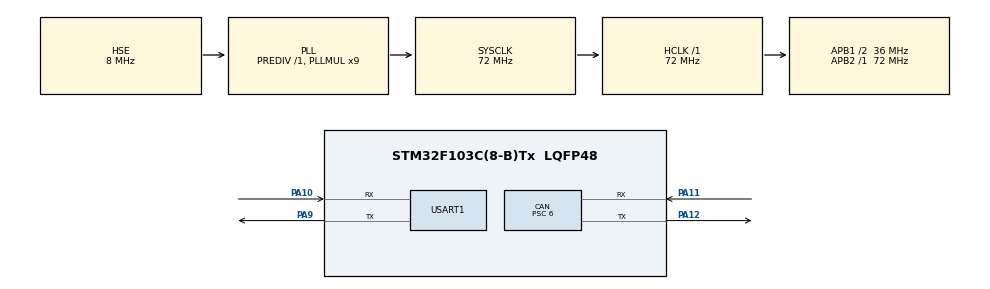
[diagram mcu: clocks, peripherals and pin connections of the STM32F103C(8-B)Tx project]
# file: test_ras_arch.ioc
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CAN.AWUM=DISABLE
CAN.BS1=CAN_BS1_12TQ
CAN.BS2=CAN_BS2_3TQ
CAN.CalculateBaudRate=375000
CAN.CalculateTimeBit=2666.66
CAN.CalculateTimeQuantum=166.66666666666669
CAN.Mode=CAN_MODE_LOOPBACK
CAN.NART=ENABLE
CAN.Prescaler=6
FREERTOS.BinarySemaphores01=uartSemaphore,Static,uartSemaphoreControlBlock;cfgRegSemaphore,Static,cfgRegSemaphoreControlBlock
FREERTOS.Queues01=canEventQueue,10,CAN_Event_t,0,Static,canEventQueueBuffer,canEventQueueControlBlock;grupo1Queue,2,64,1,Static,grupo1QueueBuffer,grupo1QueueControlBlock;grupo2Queue,12,12,1,Static,grupo2QueueBuffer,grupo2QueueControlBlock
FREERTOS.Tasks01=defaultTask,8,128,StartDefaultTask,Default,NULL,Dynamic,NULL,NULL;grupo1Task,24,128,StartGrupo1,Default,NULL,Static,grupo1TaskBuffer,grupo1TaskControlBlock;grupo2Task,24,128,StartGrupo2,Default,NULL,Static,grupo2TaskBuffer,grupo2TaskControlBlock;canGKTask,32,128,StartCanGK,Default,NULL,Static,canGKTaskBuffer,canGKTaskControlBlock;storageTask,24,128,StartStorage,Default,NULL,Static,storageTaskBuffer,storageTaskControlBlock;thermalCtrlTask,8,128,StartThermalCtrl,Default,NULL,Static,thermalCtrlTaskBuffer,thermalCtrlTaskControlBlock;stimulusTask,8,128,StartStimulus,Default,NULL,Static,stimulusTaskBuffer,stimulusTaskControlBlock
FREERTOS.Timers01=grupo1Timer,Grupo1TimerCallback,osTimerPeriodic,Default,NULL,Static,grupo1TimerControlBlock;grupo2Timer,Grupo2TimerCallback,osTimerPeriodic,Default,NULL,Static,grupo2TimerControlBlock
FREERTOS.configCHECK_FOR_STACK_OVERFLOW=2
FREERTOS.configGENERATE_RUN_TIME_STATS=0
FREERTOS.configMINIMAL_STACK_SIZE=128
FREERTOS.configTIMER_QUEUE_LENGTH=4
FREERTOS.configTIMER_TASK_STACK_DEPTH=128
FREERTOS.configTOTAL_HEAP_SIZE=2018
FREERTOS.configUSE_IDLE_HOOK=0
FREERTOS.configUSE_NEWLIB_REENTRANT=1
FREERTOS.configUSE_PREEMPTION=0
FREERTOS.configUSE_STATS_FORMATTING_FUNCTIONS=0
Mcu.Family=STM32F1
Mcu.Name=STM32F103C(8-B)Tx
Mcu.Package=LQFP48
NVIC.PriorityGroup=NVIC_PRIORITYGROUP_4
NVIC.TIM4_IRQn=true\:15\:0\:false\:false\:true\:false\:false\:true
NVIC.TimeBase=TIM4_IRQn
NVIC.TimeBaseIP=TIM4
NVIC.USB_HP_CAN1_TX_IRQn=true\:5\:0\:false\:false\:true\:true\:true\:true
NVIC.USB_LP_CAN1_RX0_IRQn=true\:5\:0\:false\:false\:true\:true\:true\:true
PA10.Mode=Asynchronous
PA10.Signal=USART1_RX
PA11.Mode=CAN_Activate
PA11.Signal=CAN_RX
PA12.Mode=CAN_Activate
PA12.Signal=CAN_TX
PA13.Mode=Serial_Wire
PA13.Signal=SYS_JTMS-SWDIO
PA14.Mode=Serial_Wire
PA14.Signal=SYS_JTCK-SWCLK
PA9.Mode=Asynchronous
PA9.Signal=USART1_TX
PD0-OSC_IN.Mode=HSE-External-Oscillator
PD0-OSC_IN.Signal=RCC_OSC_IN
PD1-OSC_OUT.Mode=HSE-External-Oscillator
PD1-OSC_OUT.Signal=RCC_OSC_OUT
ProjectManager.HeapSize=0x200
ProjectManager.StackSize=0x400
ProjectManager.TargetToolchain=STM32CubeIDE
RCC.ADCPresc=RCC_ADCPCLK2_DIV6
RCC.AHBFreq_Value=72000000
RCC.APB1CLKDivider=RCC_HCLK_DIV2
RCC.APB1Freq_Value=36000000
RCC.APB1TimFreq_Value=72000000
RCC.APB2Freq_Value=72000000
RCC.APB2TimFreq_Value=72000000
RCC.EnbaleCSS=true
RCC.HCLKFreq_Value=72000000
RCC.PLLMUL=RCC_PLL_MUL9
RCC.PLLSourceVirtual=RCC_PLLSOURCE_HSE
RCC.SYSCLKFreq_VALUE=72000000
RCC.SYSCLKSource=RCC_SYSCLKSOURCE_PLLCLK
RCC.USBFreq_Value=72000000
USART1.VirtualMode=VM_ASYNC
VP_FREERTOS_VS_CMSIS_V2.Mode=CMSIS_V2
VP_SYS_VS_tim4.Mode=TIM4
board=custom

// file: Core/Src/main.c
/* USER CODE BEGIN Header */
/**
 ******************************************************************************
 * @file           : main.c
 * @brief          : Main program body
 ******************************************************************************
 * @attention
 *
 * <h2><center>&copy; Copyright (c) 2021 STMicroelectronics.
 * All rights reserved.</center></h2>
 *
 * This software component is licensed by ST under BSD 3-Clause license,
 * the "License"; You may not use this file except in compliance with the
 * License. You may obtain a copy of the License at:
 *                        opensource.org/licenses/BSD-3-Clause
 *
 ******************************************************************************
 */
/* USER CODE END Header */
#include "main.h"
#include "cmsis_os.h"
#include "can.h"
#include "usart.h"
#include "gpio.h"

/* USER CODE BEGIN Includes */
//#include "stm32f1xx_hal_rtc.h"
#include "zenith.h"
#include "CANZenTool.h"
/* USER CODE END Includes */

void SystemClock_Config(void);
void MX_FREERTOS_Init(void);

/* USER CODE BEGIN 0 */
//void HAL_CAN_RxFifo0MsgPendingCallback(CAN_HandleTypeDef *hcan) {
//	CAN_RxHeaderTypeDef header;
//	uint8_t buffer[8] = { 0 };
//	HAL_CAN_GetRxMessage(hcan, CAN_RX_FIFO0, &header, buffer);
//
//	CAN_Event_t can_event = { //
//			.ID = (uint16_t) header.StdId, //
//			.RTR = header.RTR, //
//			.size = (uint8_t) header.DLC, //
//			.type = RX //
//			};
//	memcpy(can_event.data, buffer, can_event.size);
//	can_event_global_buffer = can_event;
//	osMessageQueuePut(canEventQueueHandle, &can_event_global_buffer, 0, 0);
//}

/* USER CODE END 0 */

int main(void)
{

  /* MCU Configuration--------------------------------------------------------*/

  /* Reset of all peripherals, Initializes the Flash interface and the Systick. */
  HAL_Init();

  /* Configure the system clock */
  SystemClock_Config();

  /* Initialize all configured peripherals */
  MX_GPIO_Init();
  MX_CAN_Init();
  MX_USART1_UART_Init();
  /* USER CODE BEGIN 2 */
	CAN_FilterTypeDef filter;
	CANZenTool_setFilter(&hcan, &filter, true, 0, 0xAD, 0xAD);
	HAL_CAN_Start(&hcan);
	HAL_CAN_ActivateNotification(&hcan, CAN_IT_RX_FIFO0_MSG_PENDING);

  /* USER CODE END 2 */

  /* Init scheduler */
  osKernelInitialize();  /* Call init function for freertos objects (in freertos.c) */
  MX_FREERTOS_Init();
  /* Start scheduler */
  osKernelStart();

  /* We should never get here as control is now taken by the scheduler */
  /* Infinite loop */
	while (1) {

	}
}

void SystemClock_Config(void)
{
  RCC_OscInitTypeDef RCC_OscInitStruct = {0};
  RCC_ClkInitTypeDef RCC_ClkInitStruct = {0};

  /** Initializes the RCC Oscillators according to the specified parameters
  * in the RCC_OscInitTypeDef structure.
  */
  RCC_OscInitStruct.OscillatorType = RCC_OSCILLATORTYPE_HSE;
  RCC_OscInitStruct.HSEState = RCC_HSE_ON;
  RCC_OscInitStruct.HSEPredivValue = RCC_HSE_PREDIV_DIV1;
  RCC_OscInitStruct.HSIState = RCC_HSI_ON;
  RCC_OscInitStruct.PLL.PLLState = RCC_PLL_ON;
  RCC_OscInitStruct.PLL.PLLSource = RCC_PLLSOURCE_HSE;
  RCC_OscInitStruct.PLL.PLLMUL = RCC_PLL_MUL9;
  if (HAL_RCC_OscConfig(&RCC_OscInitStruct) != HAL_OK)
  {
    Error_Handler();
  }
  /** Initializes the CPU, AHB and APB buses clocks
  */
  RCC_ClkInitStruct.ClockType = RCC_CLOCKTYPE_HCLK|RCC_CLOCKTYPE_SYSCLK
                              |RCC_CLOCKTYPE_PCLK1|RCC_CLOCKTYPE_PCLK2;
  RCC_ClkInitStruct.SYSCLKSource = RCC_SYSCLKSOURCE_PLLCLK;
  RCC_ClkInitStruct.AHBCLKDivider = RCC_SYSCLK_DIV1;
  RCC_ClkInitStruct.APB1CLKDivider = RCC_HCLK_DIV2;
  RCC_ClkInitStruct.APB2CLKDivider = RCC_HCLK_DIV1;

  if (HAL_RCC_ClockConfig(&RCC_ClkInitStruct, FLASH_LATENCY_2) != HAL_OK)
  {
    Error_Handler();
  }
  /** Enables the Clock Security System
  */
  HAL_RCC_EnableCSS();
}

void HAL_TIM_PeriodElapsedCallback(TIM_HandleTypeDef *htim)
{
  if (htim->Instance == TIM4) {
    HAL_IncTick();
  }
}

void Error_Handler(void)
{
	__disable_irq();
	while (1) {
	}
}

#ifdef  USE_FULL_ASSERT
/**
  * @brief  Reports the name of the source file and the source line number
  *         where the assert_param error has occurred.
  * @param  file: pointer to the source file name
  * @param  line: assert_param error line source number
  * @retval None
  */
void assert_failed(uint8_t *file, uint32_t line)
{
  /* USER CODE BEGIN 6 */
  /* User can add his own implementation to report the file name and line number, */
     printf("AF %sL%lu\r\n", file, line);
  /* USER CODE END 6 */
}
#endif /* USE_FULL_ASSERT */

/************************ (C) COPYRIGHT STMicroelectronics *****END OF FILE****/

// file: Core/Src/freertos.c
/* USER CODE BEGIN Header */
/**
 ******************************************************************************
 * File Name          : freertos.c
 * Description        : Code for freertos applications
 ******************************************************************************
 * @attention
 *
 * <h2><center>&copy; Copyright (c) 2021 STMicroelectronics.
 * All rights reserved.</center></h2>
 *
 * This software component is licensed by ST under Ultimate Liberty license
 * SLA0044, the "License"; You may not use this file except in compliance with
 * the License. You may obtain a copy of the License at:
 *                             www.st.com/SLA0044
 *
 ******************************************************************************
 */
/* USER CODE END Header */

#include "FreeRTOS.h"
#include "task.h"
#include "main.h"
#include "cmsis_os.h"

/* USER CODE BEGIN Includes */
#include "stm32f1xx_hal_can.h"
#include "Fake.h"
#include "queue.h"
#include "zenith.h"
#include "CANZenTool.h"
#include <string.h>
/* USER CODE END Includes */

typedef StaticTask_t osStaticThreadDef_t;
typedef StaticQueue_t osStaticMessageQDef_t;
typedef StaticTimer_t osStaticTimerDef_t;
typedef StaticSemaphore_t osStaticSemaphoreDef_t;

/* USER CODE BEGIN Variables */
extern CAN_HandleTypeDef hcan;
uint32_t mailbox;

uint8_t system_config_register[8];

/* USER CODE END Variables */
/* Definitions for defaultTask */
osThreadId_t defaultTaskHandle;
const osThreadAttr_t defaultTask_attributes = { .name = "defaultTask",
		.stack_size = 128 * 4, .priority = (osPriority_t) osPriorityLow, };
/* Definitions for grupo1Task */
osThreadId_t grupo1TaskHandle;
uint32_t grupo1TaskBuffer[128];
osStaticThreadDef_t grupo1TaskControlBlock;
const osThreadAttr_t grupo1Task_attributes = { .name = "grupo1Task", .cb_mem =
		&grupo1TaskControlBlock, .cb_size = sizeof(grupo1TaskControlBlock),
		.stack_mem = &grupo1TaskBuffer[0], .stack_size =
				sizeof(grupo1TaskBuffer), .priority =
				(osPriority_t) osPriorityNormal, };
/* Definitions for grupo2Task */
osThreadId_t grupo2TaskHandle;
uint32_t grupo2TaskBuffer[128];
osStaticThreadDef_t grupo2TaskControlBlock;
const osThreadAttr_t grupo2Task_attributes = { .name = "grupo2Task", .cb_mem =
		&grupo2TaskControlBlock, .cb_size = sizeof(grupo2TaskControlBlock),
		.stack_mem = &grupo2TaskBuffer[0], .stack_size =
				sizeof(grupo2TaskBuffer), .priority =
				(osPriority_t) osPriorityNormal, };
/* Definitions for canGKTask */
osThreadId_t canGKTaskHandle;
uint32_t canGKTaskBuffer[128];
osStaticThreadDef_t canGKTaskControlBlock;
const osThreadAttr_t canGKTask_attributes = { .name = "canGKTask", .cb_mem =
		&canGKTaskControlBlock, .cb_size = sizeof(canGKTaskControlBlock),
		.stack_mem = &canGKTaskBuffer[0], .stack_size = sizeof(canGKTaskBuffer),
		.priority = (osPriority_t) osPriorityAboveNormal, };
/* Definitions for storageTask */
osThreadId_t storageTaskHandle;
uint32_t storageTaskBuffer[128];
osStaticThreadDef_t storageTaskControlBlock;
const osThreadAttr_t storageTask_attributes = { .name = "storageTask", .cb_mem =
		&storageTaskControlBlock, .cb_size = sizeof(storageTaskControlBlock),
		.stack_mem = &storageTaskBuffer[0], .stack_size =
				sizeof(storageTaskBuffer), .priority =
				(osPriority_t) osPriorityNormal, };
/* Definitions for thermalCtrlTask */
osThreadId_t thermalCtrlTaskHandle;
uint32_t thermalCtrlTaskBuffer[128];
osStaticThreadDef_t thermalCtrlTaskControlBlock;
const osThreadAttr_t thermalCtrlTask_attributes = { .name = "thermalCtrlTask",
		.cb_mem = &thermalCtrlTaskControlBlock, .cb_size =
				sizeof(thermalCtrlTaskControlBlock), .stack_mem =
				&thermalCtrlTaskBuffer[0], .stack_size =
				sizeof(thermalCtrlTaskBuffer), .priority =
				(osPriority_t) osPriorityLow, };
/* Definitions for stimulusTask */
osThreadId_t stimulusTaskHandle;
uint32_t stimulusTaskBuffer[128];
osStaticThreadDef_t stimulusTaskControlBlock;
const osThreadAttr_t stimulusTask_attributes = { .name = "stimulusTask",
		.cb_mem = &stimulusTaskControlBlock, .cb_size =
				sizeof(stimulusTaskControlBlock), .stack_mem =
				&stimulusTaskBuffer[0],
		.stack_size = sizeof(stimulusTaskBuffer), .priority =
				(osPriority_t) osPriorityLow, };
/* Definitions for canEventQueue */
osMessageQueueId_t canEventQueueHandle;
uint8_t canEventQueueBuffer[10 * sizeof(CAN_Event_t)];
osStaticMessageQDef_t canEventQueueControlBlock;
const osMessageQueueAttr_t canEventQueue_attributes = { .name = "canEventQueue",
		.cb_mem = &canEventQueueControlBlock, .cb_size =
				sizeof(canEventQueueControlBlock), .mq_mem =
				&canEventQueueBuffer, .mq_size = sizeof(canEventQueueBuffer) };
/* Definitions for grupo1Queue */
osMessageQueueId_t grupo1QueueHandle;
uint8_t grupo1QueueBuffer[2 * 64];
osStaticMessageQDef_t grupo1QueueControlBlock;
const osMessageQueueAttr_t grupo1Queue_attributes = { .name = "grupo1Queue",
		.cb_mem = &grupo1QueueControlBlock, .cb_size =
				sizeof(grupo1QueueControlBlock), .mq_mem = &grupo1QueueBuffer,
		.mq_size = sizeof(grupo1QueueBuffer) };
/* Definitions for grupo2Queue */
osMessageQueueId_t grupo2QueueHandle;
uint8_t grupo2QueueBuffer[12 * 12];
osStaticMessageQDef_t grupo2QueueControlBlock;
const osMessageQueueAttr_t grupo2Queue_attributes = { .name = "grupo2Queue",
		.cb_mem = &grupo2QueueControlBlock, .cb_size =
				sizeof(grupo2QueueControlBlock), .mq_mem = &grupo2QueueBuffer,
		.mq_size = sizeof(grupo2QueueBuffer) };
/* Definitions for grupo1Timer */
osTimerId_t grupo1TimerHandle;
osStaticTimerDef_t grupo1TimerControlBlock;
const osTimerAttr_t grupo1Timer_attributes = { .name = "grupo1Timer", .cb_mem =
		&grupo1TimerControlBlock, .cb_size = sizeof(grupo1TimerControlBlock), };
/* Definitions for grupo2Timer */
osTimerId_t grupo2TimerHandle;
osStaticTimerDef_t grupo2TimerControlBlock;
const osTimerAttr_t grupo2Timer_attributes = { .name = "grupo2Timer", .cb_mem =
		&grupo2TimerControlBlock, .cb_size = sizeof(grupo2TimerControlBlock), };
/* Definitions for uartSemaphore */
osSemaphoreId_t uartSemaphoreHandle;
osStaticSemaphoreDef_t uartSemaphoreControlBlock;
const osSemaphoreAttr_t uartSemaphore_attributes = { .name = "uartSemaphore",
		.cb_mem = &uartSemaphoreControlBlock, .cb_size =
				sizeof(uartSemaphoreControlBlock), };
/* Definitions for cfgRegSemaphore */
osSemaphoreId_t cfgRegSemaphoreHandle;
osStaticSemaphoreDef_t cfgRegSemaphoreControlBlock;
const osSemaphoreAttr_t cfgRegSemaphore_attributes = {
		.name = "cfgRegSemaphore", .cb_mem = &cfgRegSemaphoreControlBlock,
		.cb_size = sizeof(cfgRegSemaphoreControlBlock), };

void StartDefaultTask(void *argument);
void StartGrupo1(void *argument);
void StartGrupo2(void *argument);
void StartCanGK(void *argument);
void StartStorage(void *argument);
void StartThermalCtrl(void *argument);
void StartStimulus(void *argument);
void Grupo1TimerCallback(void *argument);
void Grupo2TimerCallback(void *argument);

void MX_FREERTOS_Init(void); /* (MISRA C 2004 rule 8.1) */

/* Hook prototypes */
void vApplicationStackOverflowHook(xTaskHandle xTask, signed char *pcTaskName);

/* USER CODE BEGIN 4 */
void vApplicationStackOverflowHook(xTaskHandle xTask, signed char *pcTaskName) {
	/* Run time stack overflow checking is performed if
	 configCHECK_FOR_STACK_OVERFLOW is defined to 1 or 2. This hook function is
	 called if a stack overflow is detected. */
	debug("[*] STK_OF:%s [*]", pcTaskName);
}
/* USER CODE END 4 */

void MX_FREERTOS_Init(void) {

	/* Create the semaphores(s) */
	/* creation of uartSemaphore */
	uartSemaphoreHandle = osSemaphoreNew(1, 1, &uartSemaphore_attributes);

	/* creation of cfgRegSemaphore */
	cfgRegSemaphoreHandle = osSemaphoreNew(1, 1, &cfgRegSemaphore_attributes);

	/* Create the timer(s) */
	/* creation of grupo1Timer */
	grupo1TimerHandle = osTimerNew(Grupo1TimerCallback, osTimerPeriodic, NULL,
			&grupo1Timer_attributes);

	/* creation of grupo2Timer */
	grupo2TimerHandle = osTimerNew(Grupo2TimerCallback, osTimerPeriodic, NULL,
			&grupo2Timer_attributes);

	/* Create the queue(s) */
	/* creation of canEventQueue */
	canEventQueueHandle = osMessageQueueNew(10, sizeof(CAN_Event_t),
			&canEventQueue_attributes);

	/* creation of grupo1Queue */
	grupo1QueueHandle = osMessageQueueNew(2, 64, &grupo1Queue_attributes);

	/* creation of grupo2Queue */
	grupo2QueueHandle = osMessageQueueNew(12, 12, &grupo2Queue_attributes);

	/* Create the thread(s) */
	/* creation of defaultTask */
	defaultTaskHandle = osThreadNew(StartDefaultTask, NULL,
			&defaultTask_attributes);

	/* creation of grupo1Task */
	grupo1TaskHandle = osThreadNew(StartGrupo1, NULL, &grupo1Task_attributes);

	/* creation of grupo2Task */
	grupo2TaskHandle = osThreadNew(StartGrupo2, NULL, &grupo2Task_attributes);

	/* creation of canGKTask */
	canGKTaskHandle = osThreadNew(StartCanGK, NULL, &canGKTask_attributes);

	/* creation of storageTask */
	storageTaskHandle = osThreadNew(StartStorage, NULL,
			&storageTask_attributes);

	/* creation of thermalCtrlTask */
	thermalCtrlTaskHandle = osThreadNew(StartThermalCtrl, NULL,
			&thermalCtrlTask_attributes);

	/* creation of stimulusTask */
	stimulusTaskHandle = osThreadNew(StartStimulus, NULL,
			&stimulusTask_attributes);

}

void StartDefaultTask(void *argument) {
	/* USER CODE BEGIN StartDefaultTask */
	osThreadExit();
	/* Infinite loop */
	for (;;) {
		osDelay(100);
	}
	/* USER CODE END StartDefaultTask */
}

void StartGrupo1(void *argument) {
	/* USER CODE BEGIN StartGrupo1 */
	sensor1_init();
	sensor1_init();
	osTimerStart(grupo1TimerHandle, 1000);
	/* Infinite loop */
	uint8_t data[] = { 0xDE, 0xAD, 0xBE, 0xEF };
	for (;;) {
		osThreadFlagsWait(0x00000001U, osFlagsWaitAny, osWaitForever);
		uint8_t d = 0x00;
		sensor1_get(&d);
		osMessageQueuePut(grupo1QueueHandle, &data, 0, 100);
	}
	/* USER CODE END StartGrupo1 */
}

void StartGrupo2(void *argument) {
	/* USER CODE BEGIN StartGrupo2 */
	sensor2_init();
	sensor2_init();
	osTimerStart(grupo2TimerHandle, 100);
	uint32_t last_count = 0;
	uint8_t data[] = { 0xDE, 0xAD, 0xBE, 0xEF };
	uint8_t counter = 0;
	/* Infinite loop */
	for (;;) {
		osThreadFlagsWait(0x00000001U, osFlagsWaitAny, osWaitForever);
		data[sizeof(data) - 1] = counter++;
		uint32_t new_count = osMessageQueueGetCount(grupo2QueueHandle);
		if (new_count < last_count && new_count != 0) {
			osDelay(1);
		} else {
			uint8_t d = 0x00;
			sensor2_get(&d);
			osMessageQueuePut(grupo2QueueHandle, &data, 0, 10);
		}
		last_count = new_count;
	}
	/* USER CODE END StartGrupo2 */
}

void StartCanGK(void *argument) {
	/* USER CODE BEGIN StartCanGK */
	CAN_Event_t can_event = { 0 };
	CAN_TxHeaderTypeDef header = CANZenTool_writeStdCanFrame(8, 0xAD, true);

	/* Infinite loop */
	for (;;) {
		osMessageQueueGet(canEventQueueHandle, &can_event, 0, osWaitForever);
		debug("CAN Event: [%.3X] %s", can_event.ID,
				can_event.type ? "TX" : "RX");
		switch (can_event.type) {
		case TX:
			CANZenTool_sendCanFrameMsg(&hcan, &header, can_event.data,
					&mailbox);
			break;
		case RX:
			debug("MSG: [%.2X%.2X%.2X%.2X %.2X%.2X%.2X%.2X]", can_event.data[0],
					can_event.data[1], can_event.data[2], can_event.data[3],
					can_event.data[4], can_event.data[5], can_event.data[6],
					can_event.data[7])
			;
			break;
		default:
			break;
		}
	}
	/* USER CODE END StartCanGK */
}

void StartStorage(void *argument) {
	/* USER CODE BEGIN StartStorage */
	storage1_init();
	storage2_init();
	/* Infinite loop */
	uint8_t data[4] = { 0 };
	uint8_t buffer[40] = { 0 };
	for (;;) {
		osMessageQueueGet(grupo1QueueHandle, &data, NULL, osWaitForever);
		storage1_save(sizeof(data), data);
		storage2_save(sizeof(data), data);
		uint32_t g2count = osMessageQueueGetCount(grupo2QueueHandle);
		while (g2count--) {
			int offset = sizeof(data) * (sizeof(buffer) - g2count);
			osMessageQueueGet(grupo2QueueHandle, buffer + offset, 0, 10);
		}
		debug("IMU Queue flushed");
		storage1_save(sizeof(buffer), buffer);
		storage2_save(sizeof(buffer), buffer);
	}
	/* USER CODE END StartStorage */
}

void StartThermalCtrl(void *argument) {
	/* USER CODE BEGIN StartThermalCtrl */
	/* Infinite loop */
	for (;;) {
		actuator_get();
		osDelay(500);
		actuator_set(1);
		osDelay(500);
	}
	/* USER CODE END StartThermalCtrl */
}

void StartStimulus(void *argument) {
	/* USER CODE BEGIN StartStimulus */
	/* Infinite loop */
	uint8_t buffer[8] = { 0, [1]=0x55 };
	CAN_Event_t can_ev_tx = { //
			.ID = 0x123, //
					.RTR = CAN_RTR_DATA, //
					.size = 8, //
					.type = TX, //
			};
	uint8_t counter = 0;
	for (;;) {
		osDelay(2000);
		buffer[sizeof(buffer) - 1] = counter++;
		memcpy(can_ev_tx.data, buffer, can_ev_tx.size);
		osMessageQueuePut(canEventQueueHandle, &can_ev_tx, 0, 100);
	}
	/* USER CODE END StartStimulus */
}

/* Grupo1TimerCallback function */
void Grupo1TimerCallback(void *argument) {
	/* USER CODE BEGIN Grupo1TimerCallback */
	osThreadFlagsSet(grupo1TaskHandle, 0x00000001U);
	/* USER CODE END Grupo1TimerCallback */
}

/* Grupo2TimerCallback function */
void Grupo2TimerCallback(void *argument) {
	/* USER CODE BEGIN Grupo2TimerCallback */
	osThreadFlagsSet(grupo2TaskHandle, 0x00000001U);
	/* USER CODE END Grupo2TimerCallback */
}

/* USER CODE BEGIN Application */
void HAL_CAN_RxFifo0MsgPendingCallback(CAN_HandleTypeDef *hcan) {
	uint8_t buffer[8];
	CAN_RxHeaderTypeDef header;
	HAL_CAN_GetRxMessage(hcan, CAN_RX_FIFO0, &header, buffer);
	CAN_Event_t event;
	event.RTR = header.RTR;
	event.ID = header.StdId;
	event.size = (uint8_t) header.DLC;
	event.type = RX;
	memcpy(event.data, buffer, event.size);
	osMessageQueuePut(canEventQueueHandle, &event, 0, 0);
}

int run_commmand(ras_cmd_t cmd, uint8_t data[8]) {
	switch (cmd) {
	case TEST:
		return OK;
	case R_CFG:
		CAN_Event_t response = { //
				.ID = 0x123, //
						.RTR = CAN_RTR_DATA, //
						.size = 8, //
						.type = TX, //
				};
		if (osMutexAcquire(cfgRegSemaphoreHandle, osWaitForever) == osOK) {
			memcpy(response.data, system_config_register, response.size);
			osMutexRelease(cfgRegSemaphoreHandle);
		}
		return osMessageQueuePut(canEventQueueHandle, &response, 1, 100);
	case W_CFG:
		if (osMutexAcquire(cfgRegSemaphoreHandle, 250) == osOK) {
			memcpy(system_config_register, data,
					sizeof(system_config_register));
			osMutexRelease(cfgRegSemaphoreHandle);
			return OK;
		} else {
			return FAIL;
		}
//	case
		return OK;
	}
	return OK;
}
/* USER CODE END Application */

/************************ (C) COPYRIGHT STMicroelectronics *****END OF FILE****/
